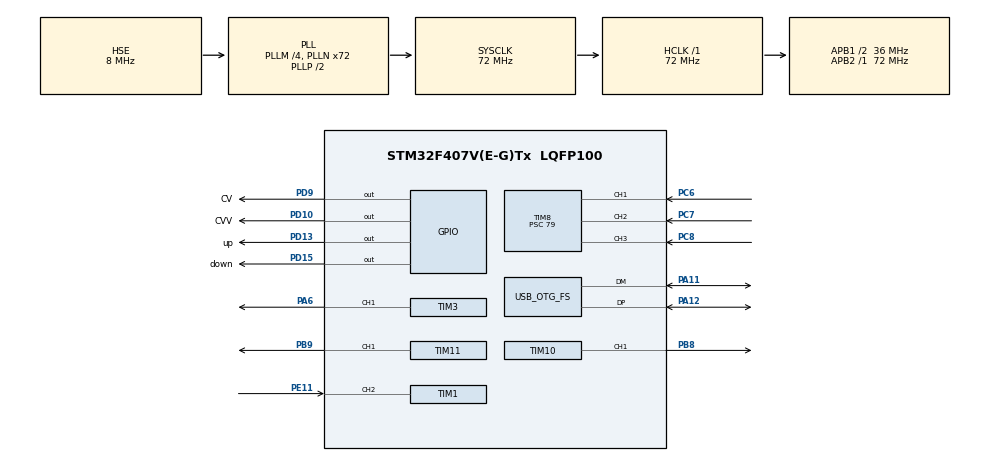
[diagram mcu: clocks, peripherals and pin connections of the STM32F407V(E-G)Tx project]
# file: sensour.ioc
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EdgeImpulse.mesafe.1.0.2.MachineLearningCcmesafeJjCore=true
Mcu.Family=STM32F4
Mcu.Name=STM32F407V(E-G)Tx
Mcu.Package=LQFP100
NVIC.OTG_FS_IRQn=true\:0\:0\:false\:false\:true\:false\:true\:true
NVIC.PriorityGroup=NVIC_PRIORITYGROUP_4
PA11.Mode=Device_Only
PA11.Signal=USB_OTG_FS_DM
PA12.Mode=Device_Only
PA12.Signal=USB_OTG_FS_DP
PA6.Signal=S_TIM3_CH1
PB8.Signal=S_TIM10_CH1
PB9.Signal=S_TIM11_CH1
PC6.Signal=S_TIM8_CH1
PC7.Signal=S_TIM8_CH2
PC8.Signal=S_TIM8_CH3
PD10.GPIO_Label=CVV
PD10.Signal=GPIO_Output
PD13.GPIO_Label=up
PD13.Signal=GPIO_Output
PD15.GPIO_Label=down
PD15.Signal=GPIO_Output
PD9.GPIO_Label=CV
PD9.Signal=GPIO_Output
PE11.Signal=S_TIM1_CH2
PH0-OSC_IN.Mode=HSE-External-Oscillator
PH0-OSC_IN.Signal=RCC_OSC_IN
PH1-OSC_OUT.Mode=HSE-External-Oscillator
PH1-OSC_OUT.Signal=RCC_OSC_OUT
ProjectManager.HeapSize=0x200
ProjectManager.StackSize=0x400
ProjectManager.TargetToolchain=STM32CubeIDE
RCC.48MHZClocksFreq_Value=48000000
RCC.AHBFreq_Value=72000000
RCC.APB1CLKDivider=RCC_HCLK_DIV2
RCC.APB1Freq_Value=36000000
RCC.APB1TimFreq_Value=72000000
RCC.APB2Freq_Value=72000000
RCC.APB2TimFreq_Value=72000000
RCC.CortexFreq_Value=72000000
RCC.HCLKFreq_Value=72000000
RCC.HSE_VALUE=8000000
RCC.HSI_VALUE=16000000
RCC.LSE_VALUE=32768
RCC.PLLM=4
RCC.PLLN=72
RCC.PLLQ=3
RCC.SYSCLKFreq_VALUE=72000000
RCC.SYSCLKSource=RCC_SYSCLKSOURCE_PLLCLK
RCC.VCOOutputFreq_Value=144000000
SH.S_TIM10_CH1.0=TIM10_CH1,PWM Generation1 CH1
SH.S_TIM11_CH1.0=TIM11_CH1,PWM Generation1 CH1
SH.S_TIM1_CH2.0=TIM1_CH2,TriggerSource_TI2FP2
SH.S_TIM1_CH2.1=TIM1_CH2,Input_Capture2_from_TI2
SH.S_TIM3_CH1.0=TIM3_CH1,PWM Generation1 CH1
SH.S_TIM8_CH1.0=TIM8_CH1,Input_Capture1_from_TI1
SH.S_TIM8_CH2.0=TIM8_CH2,TriggerSource_TI2FP2
SH.S_TIM8_CH2.1=TIM8_CH2,Input_Capture2_from_TI2
SH.S_TIM8_CH3.0=TIM8_CH3,Input_Capture3_from_TI3
TIM1.Channel-Input_Capture2_from_TI2=TIM_CHANNEL_2
TIM1.ICPolarity_CH2=TIM_INPUTCHANNELPOLARITY_BOTHEDGE
TIM1.Prescaler=79
TIM10.Channel=TIM_CHANNEL_1
TIM10.Period=39999
TIM10.Prescaler=199
TIM11.Channel=TIM_CHANNEL_1
TIM11.Period=39999
TIM11.Prescaler=199
TIM3.Channel-PWM\ Generation1\ CH1=TIM_CHANNEL_1
TIM3.Period=100
TIM3.Prescaler=74
TIM8.Channel-Input_Capture1_from_TI1=TIM_CHANNEL_1
TIM8.Channel-Input_Capture2_from_TI2=TIM_CHANNEL_2
TIM8.Channel-Input_Capture3_from_TI3=TIM_CHANNEL_3
TIM8.ICPolarity_CH1=TIM_INPUTCHANNELPOLARITY_BOTHEDGE
TIM8.ICPolarity_CH2=TIM_INPUTCHANNELPOLARITY_BOTHEDGE
TIM8.ICPolarity_CH3=TIM_INPUTCHANNELPOLARITY_BOTHEDGE
TIM8.Prescaler=79
USB_DEVICE.CLASS_NAME_FS=CDC
USB_DEVICE.VirtualMode-CDC_FS=Cdc
USB_DEVICE.VirtualModeFS=Cdc_FS
USB_OTG_FS.VirtualMode=Device_Only
VP_CRC_VS_CRC.Mode=CRC_Activate
VP_EdgeImpulse.mesafe_VS_mesafeJjMachineLearning_1.0.2_1.0.2.Mode=mesafeJjMachineLearning
VP_TIM10_VS_ClockSourceINT.Mode=Enable_Timer
VP_TIM11_VS_ClockSourceINT.Mode=Enable_Timer
VP_TIM1_VS_ControllerModeReset.Mode=Reset Mode
VP_TIM3_VS_ClockSourceINT.Mode=Internal
VP_TIM8_VS_ControllerModeReset.Mode=Reset Mode
VP_USB_DEVICE_VS_USB_DEVICE_CDC_FS.Mode=CDC_FS
board=custom

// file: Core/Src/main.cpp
/* USER CODE BEGIN Header */
/**
  ******************************************************************************
  * @file           : main.c
  * @brief          : Main program body
  ******************************************************************************
  * @attention
  *
  * Copyright (c) 2022 STMicroelectronics.
  * All rights reserved.
  *
  * This software is licensed under terms that can be found in the LICENSE file
  * in the root directory of this software component.
  * If no LICENSE file comes with this software, it is provided AS-IS.
  *
  ******************************************************************************
  */
/* USER CODE END Header */
#include "main.h"
#include "usb_device.h"
#include "usbd_cdc_if.h"
/* USER CODE BEGIN Includes */
#include"stdio.h"
#include <stdarg.h>
#include "edge-impulse-sdk/classifier/ei_run_classifier.h"
/* USER CODE END Includes */

/* USER CODE BEGIN PTD */
typedef struct{
	char sendstore[69];
	char temp[31];
}senddata;
/* USER CODE END PTD */

TIM_HandleTypeDef htim1;
TIM_HandleTypeDef htim3;
TIM_HandleTypeDef htim8;
TIM_HandleTypeDef htim10;
TIM_HandleTypeDef htim11;

/* USER CODE BEGIN PV */
uint32_t echo1,echo2,echo3, delay;
float dis1,dis2,dis3;
senddata mesafe;
CRC_HandleTypeDef hcrc;

/* USER CODE END PV */

void SystemClock_Config(void);
static void MX_GPIO_Init(void);
static void MX_TIM8_Init(void);
static void MX_TIM11_Init(void);
static void MX_TIM10_Init(void);
static void MX_TIM1_Init(void);
static void MX_TIM3_Init(void);
static void MX_CRC_Init(void);

/* USER CODE BEGIN 0 */

void vprint(const char *fmt, va_list argp)
{
    char string[200];
    if(0 < vsprintf(string, fmt, argp)) // build string
    {
    	 CDC_Transmit_FS((uint8_t*)string, strlen(string));
    }
}

void ei_printf(const char *format, ...) {
    va_list myargs;
    va_start(myargs, format);
    vprint(format, myargs);
    va_end(myargs);
}
using namespace ei;

static float features[EI_CLASSIFIER_DSP_INPUT_FRAME_SIZE] = { 0.0 };

int get_feature_data(size_t offset, size_t length, float *out_ptr) {
    memcpy(out_ptr, features + offset, length * sizeof(float));
    return 0;
}

char A[50];
int i=0;
uint8_t drdyFlag=0;
char charbuff[50];

using namespace std;
bool featuresarrayisready=false;
int countt=0;

/* USER CODE END 0 */

int main(void)
{

  /* MCU Configuration--------------------------------------------------------*/

  /* Reset of all peripherals, Initializes the Flash interface and the Systick. */
  HAL_Init();

  /* Configure the system clock */
  SystemClock_Config();

  /* Initialize all configured peripherals */
  MX_GPIO_Init();
  MX_TIM8_Init();
  MX_TIM11_Init();
  MX_USB_DEVICE_Init();
  MX_TIM10_Init();
  MX_TIM1_Init();
  MX_TIM3_Init();
  MX_CRC_Init();
  /* USER CODE BEGIN 2 */
  HAL_TIM_Base_Start(&htim11);
  HAL_TIM_Base_Start(&htim10);

  HAL_TIM_PWM_Start(&htim11, TIM_CHANNEL_1);
  HAL_TIM_PWM_Start(&htim10, TIM_CHANNEL_1);

  HAL_TIM_PWM_Start(&htim3, TIM_CHANNEL_1);

  HAL_TIM_IC_Start(&htim8, TIM_CHANNEL_2);
  HAL_TIM_IC_Start(&htim1, TIM_CHANNEL_2);

  TIM11->CCR1 = 3;
  TIM10->CCR1 = 3;
  /* USER CODE END 2 */

  /* Infinite loop */
  /* USER CODE BEGIN WHILE */
  signal_t signal;
  	  	signal.total_length = sizeof(features) / sizeof(features[0]);
  	  	signal.get_data = &get_feature_data;
  while (1)
  {
	  if(HAL_GetTick() - delay >= 100){
		  delay = HAL_GetTick();

		  echo1 = HAL_TIM_ReadCapturedValue(&htim1,TIM_CHANNEL_2);

		  dis1 = echo1 / 58.0f;

	  }

      //memset(mesafe.sendstore,'\0',sizeof(mesafe.sendstore));
      //snprintf(mesafe.temp,sizeof(mesafe.temp),"%f\n",dis1);
      //strcat(mesafe.sendstore,mesafe.temp);
      //memset(mesafe.temp,'\0',sizeof(mesafe.temp));
	  //CDC_Transmit_FS((uint8_t *)mesafe.sendstore, strlen(mesafe.sendstore));

	  for(;featuresarrayisready==false;)
	 		{

	 		  		 features[countt]=dis1;

	 		  		  	countt++;

	 			  if(countt==EI_CLASSIFIER_RAW_SAMPLE_COUNT){
	 						countt=0;
	 						featuresarrayisready=true;
	 					}

	 		}
	 	  ei_impulse_result_t result = { 0 };
	 	  	      EI_IMPULSE_ERROR res = run_classifier(&signal, &result, true);
	 	  	      ei_printf("run_classifier returned: %d\n", res);
	 	  	      ei_printf("Predictions (DSP: %d ms., Classification: %d ms., Anomaly: %d ms.): \n",
	 	  	      result.timing.dsp, result.timing.classification, result.timing.anomaly);

	 	  	      // print the predictions
	 	  	      ei_printf("[");

	 	  	      for (size_t ix = 0; ix < EI_CLASSIFIER_LABEL_COUNT; ix++) {
	 	  	    	  ei_printf_float(result.classification[ix].value);
	 	  	  #if EI_CLASSIFIER_HAS_ANOMALY == 1
	 	  	          ei_printf(", ");
	 	  	  #else
	 	  	          if (ix != EI_CLASSIFIER_LABEL_COUNT - 1) {
	 	  	              ei_printf(", ");
	 	  	          }
	 	  	  #endif
	 	  	      }
	 	  	  #if EI_CLASSIFIER_HAS_ANOMALY == 1
	 	  	      ei_printf_float(result.anomaly);
	 	  	  #endif
	 	  	      ei_printf("]\n\n\n");

	 	   if(result.classification[0].value > 0.49){
	 		 	  	    	 HAL_GPIO_WritePin(GPIOD, up_Pin,GPIO_PIN_SET);
	 		 	  	    	 HAL_GPIO_WritePin(GPIOD, CVV_Pin,GPIO_PIN_RESET);
	 		 	  	    	 HAL_GPIO_WritePin(GPIOD, CV_Pin,GPIO_PIN_RESET);
	 		 	  	    	 TIM3->CCR1 = 80;
	 		 	  	      }
	 		 	  	      else{

	 		 	  	    	HAL_GPIO_WritePin(GPIOD, up_Pin,GPIO_PIN_RESET);
	 		 	  	    	HAL_GPIO_WritePin(GPIOD, CVV_Pin,GPIO_PIN_RESET);
	 		 	  	    	HAL_GPIO_WritePin(GPIOD, CV_Pin,GPIO_PIN_SET);
	 		 	  	    	TIM3->CCR1 = 80;
	 		 	  	      }

	 	  HAL_Delay(300);
	 	  featuresarrayisready=false;

  }
    /* USER CODE END WHILE */

}

void SystemClock_Config(void)
{
  RCC_OscInitTypeDef RCC_OscInitStruct = {0};
  RCC_ClkInitTypeDef RCC_ClkInitStruct = {0};

  /** Configure the main internal regulator output voltage
  */
  __HAL_RCC_PWR_CLK_ENABLE();
  __HAL_PWR_VOLTAGESCALING_CONFIG(PWR_REGULATOR_VOLTAGE_SCALE1);

  /** Initializes the RCC Oscillators according to the specified parameters
  * in the RCC_OscInitTypeDef structure.
  */
  RCC_OscInitStruct.OscillatorType = RCC_OSCILLATORTYPE_HSE;
  RCC_OscInitStruct.HSEState = RCC_HSE_ON;
  RCC_OscInitStruct.PLL.PLLState = RCC_PLL_ON;
  RCC_OscInitStruct.PLL.PLLSource = RCC_PLLSOURCE_HSE;
  RCC_OscInitStruct.PLL.PLLM = 4;
  RCC_OscInitStruct.PLL.PLLN = 72;
  RCC_OscInitStruct.PLL.PLLP = RCC_PLLP_DIV2;
  RCC_OscInitStruct.PLL.PLLQ = 3;
  if (HAL_RCC_OscConfig(&RCC_OscInitStruct) != HAL_OK)
  {
    Error_Handler();
  }

  /** Initializes the CPU, AHB and APB buses clocks
  */
  RCC_ClkInitStruct.ClockType = RCC_CLOCKTYPE_HCLK|RCC_CLOCKTYPE_SYSCLK
                              |RCC_CLOCKTYPE_PCLK1|RCC_CLOCKTYPE_PCLK2;
  RCC_ClkInitStruct.SYSCLKSource = RCC_SYSCLKSOURCE_PLLCLK;
  RCC_ClkInitStruct.AHBCLKDivider = RCC_SYSCLK_DIV1;
  RCC_ClkInitStruct.APB1CLKDivider = RCC_HCLK_DIV2;
  RCC_ClkInitStruct.APB2CLKDivider = RCC_HCLK_DIV1;

  if (HAL_RCC_ClockConfig(&RCC_ClkInitStruct, FLASH_LATENCY_2) != HAL_OK)
  {
    Error_Handler();
  }
}

static void MX_CRC_Init(void)
{

  hcrc.Instance = CRC;
  if (HAL_CRC_Init(&hcrc) != HAL_OK)
  {
    Error_Handler();
  }

}

static void MX_TIM1_Init(void)
{

  TIM_SlaveConfigTypeDef sSlaveConfig = {0};
  TIM_MasterConfigTypeDef sMasterConfig = {0};
  TIM_IC_InitTypeDef sConfigIC = {0};

  htim1.Instance = TIM1;
  htim1.Init.Prescaler = 79;
  htim1.Init.CounterMode = TIM_COUNTERMODE_UP;
  htim1.Init.Period = 65535;
  htim1.Init.ClockDivision = TIM_CLOCKDIVISION_DIV1;
  htim1.Init.RepetitionCounter = 0;
  htim1.Init.AutoReloadPreload = TIM_AUTORELOAD_PRELOAD_DISABLE;
  if (HAL_TIM_Base_Init(&htim1) != HAL_OK)
  {
    Error_Handler();
  }
  if (HAL_TIM_IC_Init(&htim1) != HAL_OK)
  {
    Error_Handler();
  }
  sSlaveConfig.SlaveMode = TIM_SLAVEMODE_RESET;
  sSlaveConfig.InputTrigger = TIM_TS_TI2FP2;
  sSlaveConfig.TriggerPolarity = TIM_INPUTCHANNELPOLARITY_BOTHEDGE;
  sSlaveConfig.TriggerFilter = 0;
  if (HAL_TIM_SlaveConfigSynchro(&htim1, &sSlaveConfig) != HAL_OK)
  {
    Error_Handler();
  }
  sMasterConfig.MasterOutputTrigger = TIM_TRGO_RESET;
  sMasterConfig.MasterSlaveMode = TIM_MASTERSLAVEMODE_DISABLE;
  if (HAL_TIMEx_MasterConfigSynchronization(&htim1, &sMasterConfig) != HAL_OK)
  {
    Error_Handler();
  }
  sConfigIC.ICPolarity = TIM_INPUTCHANNELPOLARITY_BOTHEDGE;
  sConfigIC.ICSelection = TIM_ICSELECTION_DIRECTTI;
  sConfigIC.ICPrescaler = TIM_ICPSC_DIV1;
  sConfigIC.ICFilter = 0;
  if (HAL_TIM_IC_ConfigChannel(&htim1, &sConfigIC, TIM_CHANNEL_2) != HAL_OK)
  {
    Error_Handler();
  }

}

static void MX_TIM3_Init(void)
{

  TIM_ClockConfigTypeDef sClockSourceConfig = {0};
  TIM_MasterConfigTypeDef sMasterConfig = {0};
  TIM_OC_InitTypeDef sConfigOC = {0};

  htim3.Instance = TIM3;
  htim3.Init.Prescaler = 74;
  htim3.Init.CounterMode = TIM_COUNTERMODE_UP;
  htim3.Init.Period = 100;
  htim3.Init.ClockDivision = TIM_CLOCKDIVISION_DIV1;
  htim3.Init.AutoReloadPreload = TIM_AUTORELOAD_PRELOAD_DISABLE;
  if (HAL_TIM_Base_Init(&htim3) != HAL_OK)
  {
    Error_Handler();
  }
  sClockSourceConfig.ClockSource = TIM_CLOCKSOURCE_INTERNAL;
  if (HAL_TIM_ConfigClockSource(&htim3, &sClockSourceConfig) != HAL_OK)
  {
    Error_Handler();
  }
  if (HAL_TIM_PWM_Init(&htim3) != HAL_OK)
  {
    Error_Handler();
  }
  sMasterConfig.MasterOutputTrigger = TIM_TRGO_RESET;
  sMasterConfig.MasterSlaveMode = TIM_MASTERSLAVEMODE_DISABLE;
  if (HAL_TIMEx_MasterConfigSynchronization(&htim3, &sMasterConfig) != HAL_OK)
  {
    Error_Handler();
  }
  sConfigOC.OCMode = TIM_OCMODE_PWM1;
  sConfigOC.Pulse = 0;
  sConfigOC.OCPolarity = TIM_OCPOLARITY_HIGH;
  sConfigOC.OCFastMode = TIM_OCFAST_DISABLE;
  if (HAL_TIM_PWM_ConfigChannel(&htim3, &sConfigOC, TIM_CHANNEL_1) != HAL_OK)
  {
    Error_Handler();
  }
  HAL_TIM_MspPostInit(&htim3);

}

static void MX_TIM8_Init(void)
{

  TIM_SlaveConfigTypeDef sSlaveConfig = {0};
  TIM_MasterConfigTypeDef sMasterConfig = {0};
  TIM_IC_InitTypeDef sConfigIC = {0};

  htim8.Instance = TIM8;
  htim8.Init.Prescaler = 79;
  htim8.Init.CounterMode = TIM_COUNTERMODE_UP;
  htim8.Init.Period = 65535;
  htim8.Init.ClockDivision = TIM_CLOCKDIVISION_DIV1;
  htim8.Init.RepetitionCounter = 0;
  htim8.Init.AutoReloadPreload = TIM_AUTORELOAD_PRELOAD_DISABLE;
  if (HAL_TIM_Base_Init(&htim8) != HAL_OK)
  {
    Error_Handler();
  }
  if (HAL_TIM_IC_Init(&htim8) != HAL_OK)
  {
    Error_Handler();
  }
  sSlaveConfig.SlaveMode = TIM_SLAVEMODE_RESET;
  sSlaveConfig.InputTrigger = TIM_TS_TI2FP2;
  sSlaveConfig.TriggerPolarity = TIM_INPUTCHANNELPOLARITY_BOTHEDGE;
  sSlaveConfig.TriggerFilter = 0;
  if (HAL_TIM_SlaveConfigSynchro(&htim8, &sSlaveConfig) != HAL_OK)
  {
    Error_Handler();
  }
  sMasterConfig.MasterOutputTrigger = TIM_TRGO_RESET;
  sMasterConfig.MasterSlaveMode = TIM_MASTERSLAVEMODE_DISABLE;
  if (HAL_TIMEx_MasterConfigSynchronization(&htim8, &sMasterConfig) != HAL_OK)
  {
    Error_Handler();
  }
  sConfigIC.ICPolarity = TIM_INPUTCHANNELPOLARITY_BOTHEDGE;
  sConfigIC.ICSelection = TIM_ICSELECTION_DIRECTTI;
  sConfigIC.ICPrescaler = TIM_ICPSC_DIV1;
  sConfigIC.ICFilter = 0;
  if (HAL_TIM_IC_ConfigChannel(&htim8, &sConfigIC, TIM_CHANNEL_1) != HAL_OK)
  {
    Error_Handler();
  }
  if (HAL_TIM_IC_ConfigChannel(&htim8, &sConfigIC, TIM_CHANNEL_2) != HAL_OK)
  {
    Error_Handler();
  }
  if (HAL_TIM_IC_ConfigChannel(&htim8, &sConfigIC, TIM_CHANNEL_3) != HAL_OK)
  {
    Error_Handler();
  }

}

static void MX_TIM10_Init(void)
{

  TIM_OC_InitTypeDef sConfigOC = {0};

  htim10.Instance = TIM10;
  htim10.Init.Prescaler = 199;
  htim10.Init.CounterMode = TIM_COUNTERMODE_UP;
  htim10.Init.Period = 39999;
  htim10.Init.ClockDivision = TIM_CLOCKDIVISION_DIV1;
  htim10.Init.AutoReloadPreload = TIM_AUTORELOAD_PRELOAD_DISABLE;
  if (HAL_TIM_Base_Init(&htim10) != HAL_OK)
  {
    Error_Handler();
  }
  if (HAL_TIM_PWM_Init(&htim10) != HAL_OK)
  {
    Error_Handler();
  }
  sConfigOC.OCMode = TIM_OCMODE_PWM1;
  sConfigOC.Pulse = 0;
  sConfigOC.OCPolarity = TIM_OCPOLARITY_HIGH;
  sConfigOC.OCFastMode = TIM_OCFAST_DISABLE;
  if (HAL_TIM_PWM_ConfigChannel(&htim10, &sConfigOC, TIM_CHANNEL_1) != HAL_OK)
  {
    Error_Handler();
  }
  HAL_TIM_MspPostInit(&htim10);

}

static void MX_TIM11_Init(void)
{

  TIM_OC_InitTypeDef sConfigOC = {0};

  htim11.Instance = TIM11;
  htim11.Init.Prescaler = 199;
  htim11.Init.CounterMode = TIM_COUNTERMODE_UP;
  htim11.Init.Period = 39999;
  htim11.Init.ClockDivision = TIM_CLOCKDIVISION_DIV1;
  htim11.Init.AutoReloadPreload = TIM_AUTORELOAD_PRELOAD_DISABLE;
  if (HAL_TIM_Base_Init(&htim11) != HAL_OK)
  {
    Error_Handler();
  }
  if (HAL_TIM_PWM_Init(&htim11) != HAL_OK)
  {
    Error_Handler();
  }
  sConfigOC.OCMode = TIM_OCMODE_PWM1;
  sConfigOC.Pulse = 0;
  sConfigOC.OCPolarity = TIM_OCPOLARITY_HIGH;
  sConfigOC.OCFastMode = TIM_OCFAST_DISABLE;
  if (HAL_TIM_PWM_ConfigChannel(&htim11, &sConfigOC, TIM_CHANNEL_1) != HAL_OK)
  {
    Error_Handler();
  }
  HAL_TIM_MspPostInit(&htim11);

}

static void MX_GPIO_Init(void)
{
  GPIO_InitTypeDef GPIO_InitStruct = {0};

  /* GPIO Ports Clock Enable */
  __HAL_RCC_GPIOH_CLK_ENABLE();
  __HAL_RCC_GPIOA_CLK_ENABLE();
  __HAL_RCC_GPIOE_CLK_ENABLE();
  __HAL_RCC_GPIOD_CLK_ENABLE();
  __HAL_RCC_GPIOC_CLK_ENABLE();
  __HAL_RCC_GPIOB_CLK_ENABLE();

  /*Configure GPIO pin Output Level */
  HAL_GPIO_WritePin(GPIOD, CV_Pin|CVV_Pin|up_Pin|down_Pin, GPIO_PIN_RESET);

  /*Configure GPIO pins : CV_Pin CVV_Pin up_Pin down_Pin */
  GPIO_InitStruct.Pin = CV_Pin|CVV_Pin|up_Pin|down_Pin;
  GPIO_InitStruct.Mode = GPIO_MODE_OUTPUT_PP;
  GPIO_InitStruct.Pull = GPIO_NOPULL;
  GPIO_InitStruct.Speed = GPIO_SPEED_FREQ_LOW;
  HAL_GPIO_Init(GPIOD, &GPIO_InitStruct);

}

void Error_Handler(void)
{
  __disable_irq();
  while (1)
  {
  }
}
